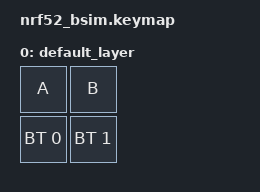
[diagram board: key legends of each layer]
#include <behaviors.dtsi>
#include <dt-bindings/zmk/bt.h>
#include <dt-bindings/zmk/keys.h>
#include <dt-bindings/zmk/kscan_mock.h>

&kscan {
    events = <ZMK_MOCK_PRESS(0,0,10000)
              ZMK_MOCK_RELEASE(0,0,2000)
              ZMK_MOCK_PRESS(0,1,100)
              ZMK_MOCK_RELEASE(0,1,1000)>;
};

/ {
    keymap {
        compatible = "zmk,keymap";
        label = "Default keymap";

        default_layer {
            bindings = <&kp A &kp B
                        &bt BT_SEL 0 &bt BT_SEL 1>;
        };
    };
};
